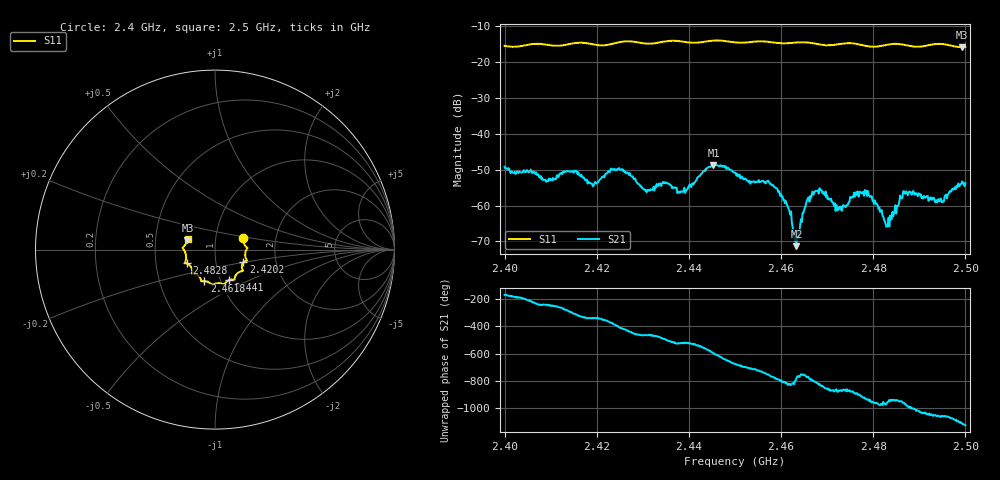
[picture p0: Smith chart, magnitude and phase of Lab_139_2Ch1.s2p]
# Hz S RI R 50
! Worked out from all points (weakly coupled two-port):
!   601 points, 2.4 GHz to 2.5 GHz, reference 50 ohm
!   highest |S21| = -48.63 dB at 2.4453 GHz (marker M1); lowest = -71.3 dB at 2.4633 GHz (marker M2)
!   lowest |S11| = -15.8 dB at 2.4993 GHz (marker M3), VSWR 1.39, Z = 36.5 + j3.84 ohm
!   |S11| at or under -10 dB: start of sweep to end of sweep
!   S12 and S22 are empty: the file has one direction only
!   S11 on the Smith chart (normalised r, x): 2.4 GHz: 1.36, +0.18; 2.4202 GHz: 1.36, -0.20; 2.441 GHz: 1.10, -0.39; 2.4618 GHz: 0.84, -0.30; 2.4828 GHz: 0.72, -0.11; 2.5 GHz: 0.73, +0.09
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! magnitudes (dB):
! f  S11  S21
! 2.4 GHz  -15.4  -49.1
! 2.4167 GHz  -14.5  -51.4
! 2.4202 GHz  -15.2  -53.5
! 2.425 GHz  -14.4  -49.9
! 2.4303 GHz  -14.7  -55.5
! 2.4333 GHz  -14.5  -54.5
! 2.441 GHz  -14.6  -54.1
! 2.4453 GHz  -13.9  -48.6
! 2.45 GHz  -14.4  -50.8
! 2.4577 GHz  -14.4  -54.0
! 2.4618 GHz  -14.6  -61.5
! 2.4633 GHz  -14.5  -71.3
! 2.4667 GHz  -14.6  -57.0
! 2.4688 GHz  -15.1  -55.8
! 2.4727 GHz  -14.9  -60.4
! 2.4787 GHz  -15.5  -57.3
! 2.4828 GHz  -15.1  -65.9
! 2.4833 GHz  -15.0  -63.3
! 2.4868 GHz  -15.2  -56.6
! 2.4948 GHz  -14.9  -59.0
! 2.4993 GHz  -15.8  -53.2
! 2.5 GHz  -15.7  -53.7
